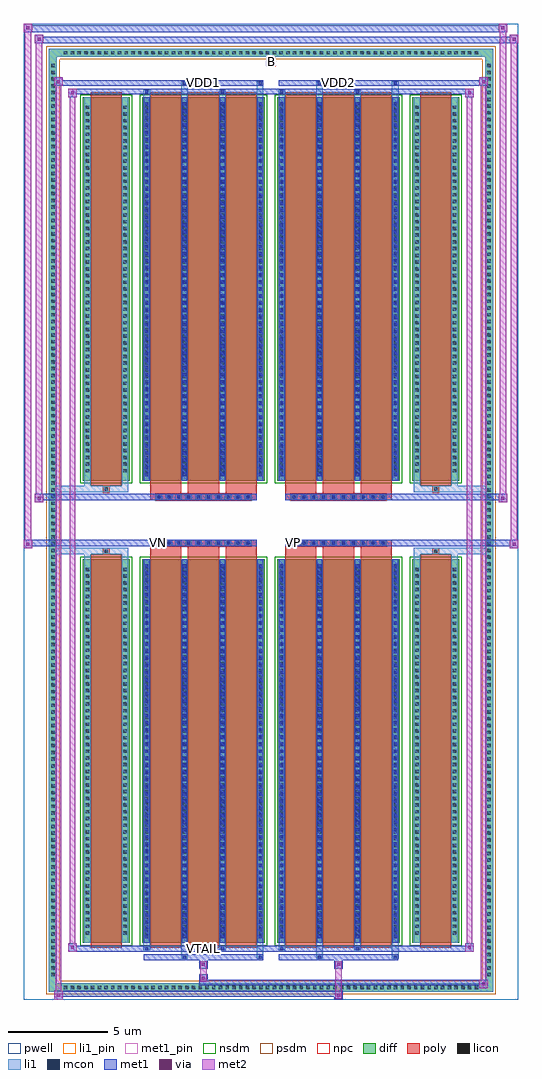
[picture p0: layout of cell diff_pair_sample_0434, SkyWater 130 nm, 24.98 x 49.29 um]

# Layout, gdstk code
import gdstk
lib = gdstk.Library(unit=1e-6, precision=5e-09)
def R(c, l, rs):  # rectangles x0, y0, x1, y1
    for r in rs: c.add(gdstk.rectangle(r[:2], r[2:], *l))
def A(c, l, x, y, w, h, nx, ny, dx, dy):  # array of equal rectangles
    R(c, l, [(x+i*dx, y+j*dy, x+i*dx+w, y+j*dy+h) for i in range(nx) for j in range(ny)])
def P(c, l, *ps):  # polygons
    for p in ps: c.add(gdstk.Polygon(p, *l))
pwell = (64, 44)
diff = (65, 20)
poly = (66, 20)
licon = (66, 44)
li1_pin = (67, 16)
li1 = (67, 20)
mcon = (67, 44)
met1_pin = (68, 16)
met1 = (68, 20)
via = (68, 44)
met2 = (69, 20)
nsdm = (93, 44)
psdm = (94, 20)
npc = (95, 20)

diff_pair_sample_0434 = lib.new_cell('diff_pair_sample_0434')
R(diff_pair_sample_0434, pwell, [(-12.49,-24.21,12.49,25.08), (-9.81,-22.4,-0.01,-0.8), (0.01,-22.4,9.81,-0.8), (-9.81,0.8,-0.01,22.4), (0.01,0.8,9.81,22.4)])
A(diff_pair_sample_0434, diff, -10.575, -23.81, 0.41, 0.41, 62, 2, 0.34, 47.21)
A(diff_pair_sample_0434, diff, -11.22, -23.155, 0.41, 0.41, 1, 136, 0, 0.34)
A(diff_pair_sample_0434, diff, 10.81, -23.155, 0.41, 0.41, 1, 136, 0, 0.34)
R(diff_pair_sample_0434, diff, [(-10.575,-23.81,10.575,-23.4), (-11.22,-23.155,-10.81,23.155), (10.81,-23.155,11.22,23.155), (-9.5,-21.355,-7.14,-1.985), (-6.5,-21.355,-0.32,-1.985), (0.32,-21.355,6.5,-1.985), (7.14,-21.355,9.5,-1.985), (-9.5,1.985,-7.14,21.355), (-6.5,1.985,-0.32,21.355), (0.32,1.985,6.5,21.355), (7.14,1.985,9.5,21.355), (-10.575,23.4,10.575,23.81)])
P(diff_pair_sample_0434, diff, [(11.22,23.81),(-11.22,23.81),(-11.22,-23.4),(-10.81,-23.4),(-10.81,23.4),(10.81,23.4),(10.81,-23.4),(-10.81,-23.4),(-11.22,-23.4),(-11.22,-23.81),(11.22,-23.81)])
A(diff_pair_sample_0434, poly, -6.11, -21.605, 1.58, 19.87, 3, 2, 1.91, 23.34)
A(diff_pair_sample_0434, poly, 0.71, -21.605, 1.58, 19.87, 3, 2, 1.91, 23.34)
A(diff_pair_sample_0434, poly, -6.11, -1.735, 1.58, 0.405, 3, 2, 1.91, 3.065)
A(diff_pair_sample_0434, poly, 0.71, -1.735, 1.58, 0.405, 3, 2, 1.91, 3.065)
A(diff_pair_sample_0434, poly, -5.825, -1.33, 0.33, 0.33, 10, 2, 0.5, 2.33)
A(diff_pair_sample_0434, poly, 0.995, -1.33, 0.33, 0.33, 10, 2, 0.5, 2.33)
R(diff_pair_sample_0434, poly, [(-9.11,-21.605,-7.53,-1.735), (7.53,-21.605,9.11,-1.735), (-8.485,-1.735,-8.155,-1.405), (-8.485,-1.735,-8.155,-1.405), (8.155,-1.735,8.485,-1.405), (8.155,-1.735,8.485,-1.405), (-6.11,-1.33,-0.71,-1), (0.71,-1.33,6.11,-1), (-6.11,1,-0.71,1.33), (0.71,1,6.11,1.33), (-8.485,1.405,-8.155,1.735), (-8.485,1.405,-8.155,1.735), (8.155,1.405,8.485,1.735), (8.155,1.405,8.485,1.735), (-9.11,1.735,-7.53,21.605), (7.53,1.735,9.11,21.605)])
A(diff_pair_sample_0434, licon, -10.455, -23.69, 0.17, 0.17, 62, 2, 0.34, 47.21)
A(diff_pair_sample_0434, licon, -11.1, -23.035, 0.17, 0.17, 1, 136, 0, 0.34)
A(diff_pair_sample_0434, licon, 10.93, -23.035, 0.17, 0.17, 1, 136, 0, 0.34)
A(diff_pair_sample_0434, licon, -9.36, -20.935, 0.17, 0.17, 1, 55, 0, 0.34)
A(diff_pair_sample_0434, licon, -7.45, -20.935, 0.17, 0.17, 1, 55, 0, 0.34)
A(diff_pair_sample_0434, licon, -6.36, -20.935, 0.17, 0.17, 4, 55, 1.91, 0.34)
A(diff_pair_sample_0434, licon, 0.46, -20.935, 0.17, 0.17, 4, 55, 1.91, 0.34)
A(diff_pair_sample_0434, licon, 7.28, -20.935, 0.17, 0.17, 1, 55, 0, 0.34)
A(diff_pair_sample_0434, licon, 9.19, -20.935, 0.17, 0.17, 1, 55, 0, 0.34)
A(diff_pair_sample_0434, licon, -5.745, -1.25, 0.17, 0.17, 10, 2, 0.5, 2.33)
A(diff_pair_sample_0434, licon, 1.075, -1.25, 0.17, 0.17, 10, 2, 0.5, 2.33)
A(diff_pair_sample_0434, licon, -9.36, 2.405, 0.17, 0.17, 1, 55, 0, 0.34)
A(diff_pair_sample_0434, licon, -7.45, 2.405, 0.17, 0.17, 1, 55, 0, 0.34)
A(diff_pair_sample_0434, licon, -6.36, 2.405, 0.17, 0.17, 4, 55, 1.91, 0.34)
A(diff_pair_sample_0434, licon, 0.46, 2.405, 0.17, 0.17, 4, 55, 1.91, 0.34)
A(diff_pair_sample_0434, licon, 7.28, 2.405, 0.17, 0.17, 1, 55, 0, 0.34)
A(diff_pair_sample_0434, licon, 9.19, 2.405, 0.17, 0.17, 1, 55, 0, 0.34)
R(diff_pair_sample_0434, licon, [(-8.405,-1.655,-8.235,-1.485), (8.235,-1.655,8.405,-1.485), (-8.405,1.485,-8.235,1.655), (8.235,1.485,8.405,1.655)])
R(diff_pair_sample_0434, li1_pin, [(-0.25,22.9,0.25,23.4)])
A(diff_pair_sample_0434, li1, -10.535, -23.77, 0.33, 0.33, 62, 2, 0.34, 47.21)
A(diff_pair_sample_0434, li1, -11.18, -23.115, 0.33, 0.33, 1, 136, 0, 0.34)
A(diff_pair_sample_0434, li1, 10.85, -23.115, 0.33, 0.33, 1, 136, 0, 0.34)
A(diff_pair_sample_0434, li1, -6.44, -21.355, 0.33, 19.37, 4, 2, 1.91, 23.34)
A(diff_pair_sample_0434, li1, 0.38, -21.355, 0.33, 19.37, 4, 2, 1.91, 23.34)
A(diff_pair_sample_0434, li1, -6.36, -21.115, 0.17, 0.17, 4, 53, 1.91, 0.36)
A(diff_pair_sample_0434, li1, -6.36, -21.115, 0.17, 18.89, 4, 2, 1.91, 23.34)
A(diff_pair_sample_0434, li1, 0.46, -21.115, 0.17, 0.17, 4, 53, 1.91, 0.36)
A(diff_pair_sample_0434, li1, 0.46, -21.115, 0.17, 18.89, 4, 2, 1.91, 23.34)
A(diff_pair_sample_0434, li1, -9.44, -21.015, 0.33, 0.33, 1, 55, 0, 0.34)
A(diff_pair_sample_0434, li1, -7.53, -21.015, 0.33, 0.33, 1, 55, 0, 0.34)
A(diff_pair_sample_0434, li1, -6.44, -21.015, 0.33, 0.33, 4, 55, 1.91, 0.34)
A(diff_pair_sample_0434, li1, 0.38, -21.015, 0.33, 0.33, 4, 55, 1.91, 0.34)
A(diff_pair_sample_0434, li1, 7.2, -21.015, 0.33, 0.33, 1, 55, 0, 0.34)
A(diff_pair_sample_0434, li1, 9.11, -21.015, 0.33, 0.33, 1, 55, 0, 0.34)
A(diff_pair_sample_0434, li1, -5.825, -1.33, 0.33, 0.33, 10, 2, 0.5, 2.33)
A(diff_pair_sample_0434, li1, 0.995, -1.33, 0.33, 0.33, 10, 2, 0.5, 2.33)
A(diff_pair_sample_0434, li1, -6.36, 2.225, 0.17, 0.17, 4, 53, 1.91, 0.36)
A(diff_pair_sample_0434, li1, 0.46, 2.225, 0.17, 0.17, 4, 53, 1.91, 0.36)
A(diff_pair_sample_0434, li1, -9.44, 2.325, 0.33, 0.33, 1, 55, 0, 0.34)
A(diff_pair_sample_0434, li1, -7.53, 2.325, 0.33, 0.33, 1, 55, 0, 0.34)
A(diff_pair_sample_0434, li1, -6.44, 2.325, 0.33, 0.33, 4, 55, 1.91, 0.34)
A(diff_pair_sample_0434, li1, 0.38, 2.325, 0.33, 0.33, 4, 55, 1.91, 0.34)
A(diff_pair_sample_0434, li1, 7.2, 2.325, 0.33, 0.33, 1, 55, 0, 0.34)
A(diff_pair_sample_0434, li1, 9.11, 2.325, 0.33, 0.33, 1, 55, 0, 0.34)
R(diff_pair_sample_0434, li1, [(-11.22,-23.81,-10.81,-23.4), (-11.22,-23.81,-10.81,-23.4), (-10.81,-23.81,10.81,-23.4), (10.81,-23.81,11.22,-23.4), (10.81,-23.81,11.22,-23.4), (-11.22,-23.4,-10.81,23.4), (10.81,-23.4,11.22,23.4), (-4.53,-22.16,-4.2,-21.355), (-4.45,-22.16,-4.28,-21.99), (-0.71,-22.16,-0.38,-21.355), (-0.63,-22.16,-0.46,-21.99), (2.29,-22.16,2.62,-21.355), (2.37,-22.16,2.54,-21.99), (6.11,-22.16,6.44,-21.355), (6.19,-22.16,6.36,-21.99), (-6.44,-21.73,-6.11,-21.355), (-6.36,-21.73,-6.19,-21.56), (-2.62,-21.73,-2.29,-21.355), (-2.54,-21.73,-2.37,-21.56), (0.38,-21.73,0.71,-21.355), (0.46,-21.73,0.63,-21.56), (4.2,-21.73,4.53,-21.355), (4.28,-21.73,4.45,-21.56), (-9.44,-21.355,-9.11,-1.985), (-7.53,-21.355,-7.2,-1.985), (7.2,-21.355,7.53,-1.985), (9.11,-21.355,9.44,-1.985), (-9.44,-1.985,-9.11,-1.405), (-7.53,-1.985,-7.2,-1.405), (7.2,-1.985,7.53,-1.405), (9.11,-1.985,9.44,-1.405), (-11.22,-1.735,-8.485,-1.405), (-9.44,-1.735,-8.485,-1.405), (-8.485,-1.735,-8.155,-1.405), (-8.155,-1.735,-7.2,-1.405), (7.2,-1.735,8.155,-1.405), (8.155,-1.735,8.485,-1.405), (8.155,-1.735,11.22,-1.405), (8.485,-1.735,9.44,-1.405), (-11.22,1.405,-8.485,1.735), (-9.44,1.405,-8.485,1.735), (-9.44,1.405,-9.11,1.985), (-8.485,1.405,-8.155,1.735), (-8.155,1.405,-7.2,1.735), (-7.53,1.405,-7.2,1.985), (7.2,1.405,8.155,1.735), (7.2,1.405,7.53,1.985), (8.155,1.405,8.485,1.735), (8.155,1.405,11.22,1.735), (8.485,1.405,9.44,1.735), (9.11,1.405,9.44,1.985), (-9.44,1.985,-9.11,21.355), (-7.53,1.985,-7.2,21.355), (7.2,1.985,7.53,21.355), (9.11,1.985,9.44,21.355), (-6.44,21.355,-6.11,21.73), (-4.53,21.355,-4.2,22.16), (-2.62,21.355,-2.29,21.73), (-0.71,21.355,-0.38,22.16), (0.38,21.355,0.71,21.73), (2.29,21.355,2.62,22.16), (4.2,21.355,4.53,21.73), (6.11,21.355,6.44,22.16), (-6.36,21.56,-6.19,21.73), (-2.54,21.56,-2.37,21.73), (0.46,21.56,0.63,21.73), (4.28,21.56,4.45,21.73), (-4.45,21.99,-4.28,22.16), (-0.63,21.99,-0.46,22.16), (2.37,21.99,2.54,22.16), (6.19,21.99,6.36,22.16), (-11.22,23.4,-10.81,23.81), (-11.22,23.4,-10.81,23.81), (-10.81,23.4,10.81,23.81), (10.81,23.4,11.22,23.81), (10.81,23.4,11.22,23.81)])
A(diff_pair_sample_0434, mcon, -6.36, -21.115, 0.17, 0.17, 4, 53, 1.91, 0.36)
A(diff_pair_sample_0434, mcon, 0.46, -21.115, 0.17, 0.17, 4, 53, 1.91, 0.36)
A(diff_pair_sample_0434, mcon, -5.745, -1.25, 0.17, 0.17, 10, 2, 0.5, 2.33)
A(diff_pair_sample_0434, mcon, 1.075, -1.25, 0.17, 0.17, 10, 2, 0.5, 2.33)
A(diff_pair_sample_0434, mcon, -6.36, 2.225, 0.17, 0.17, 4, 53, 1.91, 0.36)
A(diff_pair_sample_0434, mcon, 0.46, 2.225, 0.17, 0.17, 4, 53, 1.91, 0.36)
R(diff_pair_sample_0434, mcon, [(-4.45,-22.16,-4.28,-21.99), (-0.63,-22.16,-0.46,-21.99), (2.37,-22.16,2.54,-21.99), (6.19,-22.16,6.36,-21.99), (-6.36,-21.73,-6.19,-21.56), (-2.54,-21.73,-2.37,-21.56), (0.46,-21.73,0.63,-21.56), (4.28,-21.73,4.45,-21.56), (-6.36,21.56,-6.19,21.73), (-2.54,21.56,-2.37,21.73), (0.46,21.56,0.63,21.73), (4.28,21.56,4.45,21.73), (-4.45,21.99,-4.28,22.16), (-0.63,21.99,-0.46,22.16), (2.37,21.99,2.54,22.16), (6.19,21.99,6.36,22.16)])
R(diff_pair_sample_0434, met1_pin, [(-3.545,-21.77,-3.275,-21.5), (-5.795,-1.29,-5.525,-1.02), (1.025,-1.29,1.295,-1.02), (-3.545,21.95,-3.275,22.22), (3.275,21.95,3.545,22.22)])
A(diff_pair_sample_0434, met1, -6.42, -21.355, 0.29, 19.37, 4, 2, 1.91, 23.34)
A(diff_pair_sample_0434, met1, 0.4, -21.355, 0.29, 19.37, 4, 2, 1.91, 23.34)
A(diff_pair_sample_0434, met1, -6.42, -21.175, 0.29, 0.29, 4, 53, 1.91, 0.36)
A(diff_pair_sample_0434, met1, 0.4, -21.175, 0.29, 0.29, 4, 53, 1.91, 0.36)
A(diff_pair_sample_0434, met1, -5.805, -1.31, 0.29, 0.29, 10, 2, 0.5, 2.33)
A(diff_pair_sample_0434, met1, 1.015, -1.31, 0.29, 0.29, 10, 2, 0.5, 2.33)
A(diff_pair_sample_0434, met1, -6.42, 2.165, 0.29, 0.29, 4, 53, 1.91, 0.36)
A(diff_pair_sample_0434, met1, 0.4, 2.165, 0.29, 0.29, 4, 53, 1.91, 0.36)
R(diff_pair_sample_0434, met1, [(-10.95,-24.21,-10.52,-23.78), (3.195,-24.21,3.625,-23.78), (-10.95,-24.07,3.625,-23.78), (10.52,-23.64,10.95,-23.21), (-3.625,-23.5,10.95,-23.21), (-3.625,-23.36,-3.195,-22.93), (-3.625,-22.65,-3.195,-22.22), (3.195,-22.65,3.625,-22.22), (-6.42,-22.22,-0.4,-21.93), (-4.51,-22.22,-4.22,-21.93), (-0.69,-22.22,-0.4,-21.93), (0.4,-22.22,6.42,-21.93), (2.31,-22.22,2.6,-21.93), (6.13,-22.22,6.42,-21.93), (-10.24,-21.79,-9.81,-21.36), (-10.24,-21.79,-6.42,-21.5), (-6.42,-21.79,-6.13,-21.5), (-6.42,-21.79,-0.4,-21.5), (-2.6,-21.79,-2.31,-21.5), (-0.4,-21.79,0.4,-21.5), (0.4,-21.79,0.69,-21.5), (0.4,-21.79,6.42,-21.5), (4.22,-21.79,4.51,-21.5), (6.42,-21.79,10.24,-21.5), (9.81,-21.79,10.24,-21.36), (-12.49,-1.43,-12.06,-1), (12.06,-1.43,12.49,-1), (-12.49,-1.33,-0.71,-1), (-6.11,-1.33,-0.71,-1), (0.71,-1.33,6.11,-1), (0.71,-1.33,12.49,-1), (-11.92,0.9,-11.49,1.33), (11.49,0.9,11.92,1.33), (-11.92,1,-6.11,1.33), (-6.11,1,-0.71,1.33), (0.71,1,6.11,1.33), (6.11,1,11.92,1.33), (-10.24,21.36,-9.81,21.79), (9.81,21.36,10.24,21.79), (-10.24,21.5,-6.42,21.79), (-6.42,21.5,-6.13,21.79), (-6.42,21.5,-0.4,21.79), (-2.6,21.5,-2.31,21.79), (-0.4,21.5,0.4,21.79), (0.4,21.5,0.69,21.79), (0.4,21.5,6.42,21.79), (4.22,21.5,4.51,21.79), (6.42,21.5,10.24,21.79), (-10.95,21.93,-10.52,22.36), (-10.95,21.93,-6.42,22.22), (-6.42,21.93,-0.4,22.22), (-4.51,21.93,-4.22,22.22), (-0.69,21.93,-0.4,22.22), (0.4,21.93,6.42,22.22), (2.31,21.93,2.6,22.22), (6.13,21.93,6.42,22.22), (6.42,21.93,10.95,22.22), (10.52,21.93,10.95,22.36), (-11.92,24.08,-11.49,24.51), (-11.92,24.08,-9.81,24.41), (-9.81,24.08,9.81,24.41), (9.81,24.08,12.49,24.41), (12.06,24.08,12.49,24.51), (-12.49,24.65,-12.06,25.08), (-12.49,24.65,-9.81,24.98), (-9.81,24.65,9.81,24.98), (9.81,24.65,11.92,24.98), (11.49,24.65,11.92,25.08)])
R(diff_pair_sample_0434, via, [(-10.81,-24.07,-10.66,-23.92), (3.335,-24.07,3.485,-23.92), (10.66,-23.5,10.81,-23.35), (-3.485,-23.22,-3.335,-23.07), (-3.485,-22.51,-3.335,-22.36), (3.335,-22.51,3.485,-22.36), (-10.1,-21.65,-9.95,-21.5), (9.95,-21.65,10.1,-21.5), (-12.35,-1.29,-12.2,-1.14), (12.2,-1.29,12.35,-1.14), (-11.78,1.04,-11.63,1.19), (11.63,1.04,11.78,1.19), (-10.1,21.5,-9.95,21.65), (9.95,21.5,10.1,21.65), (-10.81,22.07,-10.66,22.22), (10.66,22.07,10.81,22.22), (-11.78,24.22,-11.63,24.37), (12.2,24.22,12.35,24.37), (-12.35,24.79,-12.2,24.94), (11.63,24.79,11.78,24.94)])
R(diff_pair_sample_0434, met2, [(-10.95,-24.21,-10.52,-23.78), (-10.88,-24.21,-10.59,22.36), (-10.59,-24.21,-10.52,-23.78), (-10.9,-24.16,-10.57,-23.83), (3.245,-24.16,3.575,-23.83), (3.245,-23.83,3.575,-22.6), (10.52,-23.64,10.95,-23.21), (10.59,-23.64,10.88,22.36), (10.88,-23.64,10.95,-23.21), (10.57,-23.59,10.9,-23.26), (-3.575,-23.31,-3.245,-22.98), (-3.575,-22.98,-3.245,-22.6), (-3.575,-22.6,-3.245,-22.27), (3.245,-22.6,3.575,-22.27), (-10.24,-21.79,-9.81,-21.36), (-10.17,-21.79,-9.88,21.79), (-9.88,-21.79,-9.81,-21.36), (9.81,-21.79,10.24,-21.36), (9.88,-21.79,10.17,21.79), (10.17,-21.79,10.24,-21.36), (-10.19,-21.74,-9.86,-21.41), (9.86,-21.74,10.19,-21.41), (-12.49,-1.43,-12.06,-1), (-12.44,-1.43,-12.11,25.08), (-12.11,-1.43,-12.06,-1), (12.06,-1.43,12.49,-1), (12.11,-1.43,12.44,24.51), (12.44,-1.43,12.49,-1), (-12.44,-1.38,-12.11,-1.05), (12.11,-1.38,12.44,-1.05), (-11.92,0.9,-11.49,1.33), (-11.87,0.9,-11.54,24.51), (-11.54,0.9,-11.49,1.33), (11.49,0.9,11.92,1.33), (11.54,0.9,11.87,25.08), (11.87,0.9,11.92,1.33), (-11.87,0.95,-11.54,1.28), (11.54,0.95,11.87,1.28), (-10.24,21.36,-9.81,21.79), (-9.88,21.36,-9.81,21.79), (9.81,21.36,10.24,21.79), (10.17,21.36,10.24,21.79), (-10.19,21.41,-9.86,21.74), (9.86,21.41,10.19,21.74), (-10.95,21.93,-10.52,22.36), (-10.59,21.93,-10.52,22.36), (10.52,21.93,10.95,22.36), (10.88,21.93,10.95,22.36), (-10.9,21.98,-10.57,22.31), (10.57,21.98,10.9,22.31), (-11.92,24.08,-11.49,24.51), (-11.54,24.08,-11.49,24.51), (12.06,24.08,12.49,24.51), (12.44,24.08,12.49,24.51), (-11.87,24.13,-11.54,24.46), (12.11,24.13,12.44,24.46), (-12.49,24.65,-12.06,25.08), (-12.11,24.65,-12.06,25.08), (11.49,24.65,11.92,25.08), (11.87,24.65,11.92,25.08), (-12.44,24.7,-12.11,25.03), (11.54,24.7,11.87,25.03)])
R(diff_pair_sample_0434, nsdm, [(-9.63,-21.485,-7.01,-1.855), (-6.63,-21.485,-0.19,-1.855), (0.19,-21.485,6.63,-1.855), (7.01,-21.485,9.63,-1.855), (-9.63,1.855,-7.01,21.485), (-6.63,1.855,-0.19,21.485), (0.19,1.855,6.63,21.485), (7.01,1.855,9.63,21.485)])
P(diff_pair_sample_0434, psdm, [(11.35,23.94),(-11.35,23.94),(-11.35,-23.27),(-10.68,-23.27),(-10.68,23.27),(10.68,23.27),(10.68,-23.27),(-10.68,-23.27),(-11.35,-23.27),(-11.35,-23.94),(11.35,-23.94)])
A(diff_pair_sample_0434, npc, -5.845, -1.35, 0.37, 0.37, 10, 2, 0.5, 2.33)
A(diff_pair_sample_0434, npc, 0.975, -1.35, 0.37, 0.37, 10, 2, 0.5, 2.33)
R(diff_pair_sample_0434, npc, [(-8.505,-1.755,-8.135,-1.385), (8.135,-1.755,8.505,-1.385), (-5.845,-1.35,-4.975,-0.98), (-5.845,-1.35,-4.975,-0.98), (-5.345,-1.35,-4.475,-0.98), (-5.345,-1.35,-4.475,-0.98), (-4.845,-1.35,-3.975,-0.98), (-4.845,-1.35,-3.975,-0.98), (-4.345,-1.35,-3.475,-0.98), (-4.345,-1.35,-3.475,-0.98), (-3.845,-1.35,-2.975,-0.98), (-3.845,-1.35,-2.975,-0.98), (-3.345,-1.35,-2.475,-0.98), (-3.345,-1.35,-2.475,-0.98), (-2.845,-1.35,-1.975,-0.98), (-2.845,-1.35,-1.975,-0.98), (-2.345,-1.35,-1.475,-0.98), (-2.345,-1.35,-1.475,-0.98), (-1.845,-1.35,-0.975,-0.98), (-1.845,-1.35,-0.975,-0.98), (0.975,-1.35,1.845,-0.98), (0.975,-1.35,1.845,-0.98), (1.475,-1.35,2.345,-0.98), (1.475,-1.35,2.345,-0.98), (1.975,-1.35,2.845,-0.98), (1.975,-1.35,2.845,-0.98), (2.475,-1.35,3.345,-0.98), (2.475,-1.35,3.345,-0.98), (2.975,-1.35,3.845,-0.98), (2.975,-1.35,3.845,-0.98), (3.475,-1.35,4.345,-0.98), (3.475,-1.35,4.345,-0.98), (3.975,-1.35,4.845,-0.98), (3.975,-1.35,4.845,-0.98), (4.475,-1.35,5.345,-0.98), (4.475,-1.35,5.345,-0.98), (4.975,-1.35,5.845,-0.98), (4.975,-1.35,5.845,-0.98), (-5.845,0.98,-4.975,1.35), (-5.845,0.98,-4.975,1.35), (-5.345,0.98,-4.475,1.35), (-5.345,0.98,-4.475,1.35), (-4.845,0.98,-3.975,1.35), (-4.845,0.98,-3.975,1.35), (-4.345,0.98,-3.475,1.35), (-4.345,0.98,-3.475,1.35), (-3.845,0.98,-2.975,1.35), (-3.845,0.98,-2.975,1.35), (-3.345,0.98,-2.475,1.35), (-3.345,0.98,-2.475,1.35), (-2.845,0.98,-1.975,1.35), (-2.845,0.98,-1.975,1.35), (-2.345,0.98,-1.475,1.35), (-2.345,0.98,-1.475,1.35), (-1.845,0.98,-0.975,1.35), (-1.845,0.98,-0.975,1.35), (0.975,0.98,1.845,1.35), (0.975,0.98,1.845,1.35), (1.475,0.98,2.345,1.35), (1.475,0.98,2.345,1.35), (1.975,0.98,2.845,1.35), (1.975,0.98,2.845,1.35), (2.475,0.98,3.345,1.35), (2.475,0.98,3.345,1.35), (2.975,0.98,3.845,1.35), (2.975,0.98,3.845,1.35), (3.475,0.98,4.345,1.35), (3.475,0.98,4.345,1.35), (3.975,0.98,4.845,1.35), (3.975,0.98,4.845,1.35), (4.475,0.98,5.345,1.35), (4.475,0.98,5.345,1.35), (4.975,0.98,5.845,1.35), (4.975,0.98,5.845,1.35), (-8.505,1.385,-8.135,1.755), (8.135,1.385,8.505,1.755)])
diff_pair_sample_0434.add(gdstk.Label('VTAIL', (-3.41,-21.635), layer=68, texttype=5))
diff_pair_sample_0434.add(gdstk.Label('VN', (-5.66,-1.155), layer=68, texttype=5))
diff_pair_sample_0434.add(gdstk.Label('VP', (1.16,-1.155), layer=68, texttype=5))
diff_pair_sample_0434.add(gdstk.Label('B', (0,23.15), layer=67, texttype=5))
diff_pair_sample_0434.add(gdstk.Label('VDD2', (3.41,22.085), layer=68, texttype=5))
diff_pair_sample_0434.add(gdstk.Label('VDD1', (-3.41,22.085), layer=68, texttype=5))

lib.write_gds('diff_pair_sample_0434.gds')
